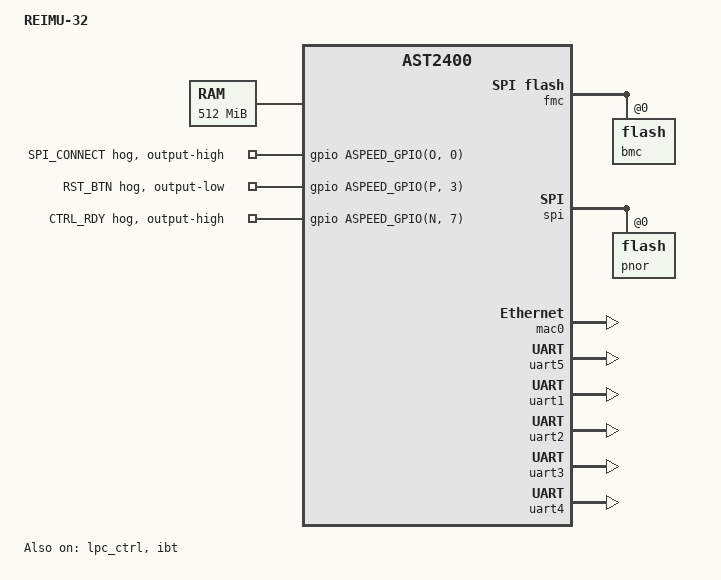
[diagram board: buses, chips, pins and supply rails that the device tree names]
// SPDX-License-Identifier: GPL-2.0+
// Copyright 2020 MCST
/dts-v1/;

#include "aspeed-g4.dtsi"
#include <dt-bindings/gpio/aspeed-gpio.h>

/ {
	model = "REIMU-32";
	compatible = "mcst,reimu-32", "aspeed,ast2400";
	aliases {
		serial1 = &uart2; /* AST - Service connector */
		serial0 = &uart1; /* AST - IOHUB ttyS1 */
	};
	chosen {
		stdout-path = "serial1:115200n8";
		bootargs = "console=ttyS1,115200 earlyprintk";
	};

	memory {
		reg = <0x40000000 0x20000000>;
	};

	reserved-memory {
		ranges;

		vga_memory: framebuffer@5f000000 {
			no-map;
			reg = <0x5f000000 0x01000000>; /* 16MB */
		};
		flash_memory: region@5c000000 {
			no-map;
			reg = <0x5c000000 0x02000000>; /* 32M */
		};
	};
};

&gpio {
	spiconnect {
		gpios = <ASPEED_GPIO(O, 0) GPIO_ACTIVE_HIGH>;
		gpio-hog;
		output-high;
		line-name = "SPI_CONNECT";
	};
	holdreset {
		gpios = <ASPEED_GPIO(P, 3) GPIO_ACTIVE_HIGH>;
		gpio-hog;
		output-low;
		line-name = "RST_BTN";
	};
	gpioready {
		gpios = <ASPEED_GPIO(N, 7) GPIO_ACTIVE_HIGH>;
		gpio-hog;
		output-high;
		line-name = "CTRL_RDY";
	};
};

&fmc {
	status = "okay";
	flash@0 {
		status = "okay";
		m25p,fast-read;
        label = "bmc";
#include "openbmc-flash-layout.dtsi"
	};
};

&spi {
	status = "okay";
	pinctrl-names = "default";
	pinctrl-0 = <&pinctrl_spi1debug_default>;
	flash@0 {
		status = "okay";
		label = "pnor";
		m25p,fast-read;
	};
};

&mac0 {
	status = "okay";
	no-hw-checksum;
	pinctrl-names = "default";
	pinctrl-0 = <&pinctrl_rmii1_default>;
};


&uart5 {
	status = "okay";
};

&lpc_ctrl {
	status = "okay";
	memory-region = <&flash_memory>;
	flash = <&spi>;
};

&ibt {
	status = "okay";
};

&uart1 {
	status = "okay";
	pinctrl-names = "default";
	pinctrl-0 = <&pinctrl_txd1_default &pinctrl_rxd1_default>;
};

&uart2 {
	status = "okay";
	pinctrl-names = "default";
	pinctrl-0 = <&pinctrl_txd2_default &pinctrl_rxd2_default>;
};

&uart3 {
	status = "okay";
	pinctrl-names = "default";
	pinctrl-0 = <&pinctrl_txd3_default &pinctrl_rxd3_default>;
};

&uart4 {
	status = "okay";
	pinctrl-names = "default";
	pinctrl-0 = <&pinctrl_txd4_default &pinctrl_rxd4_default>;
};
